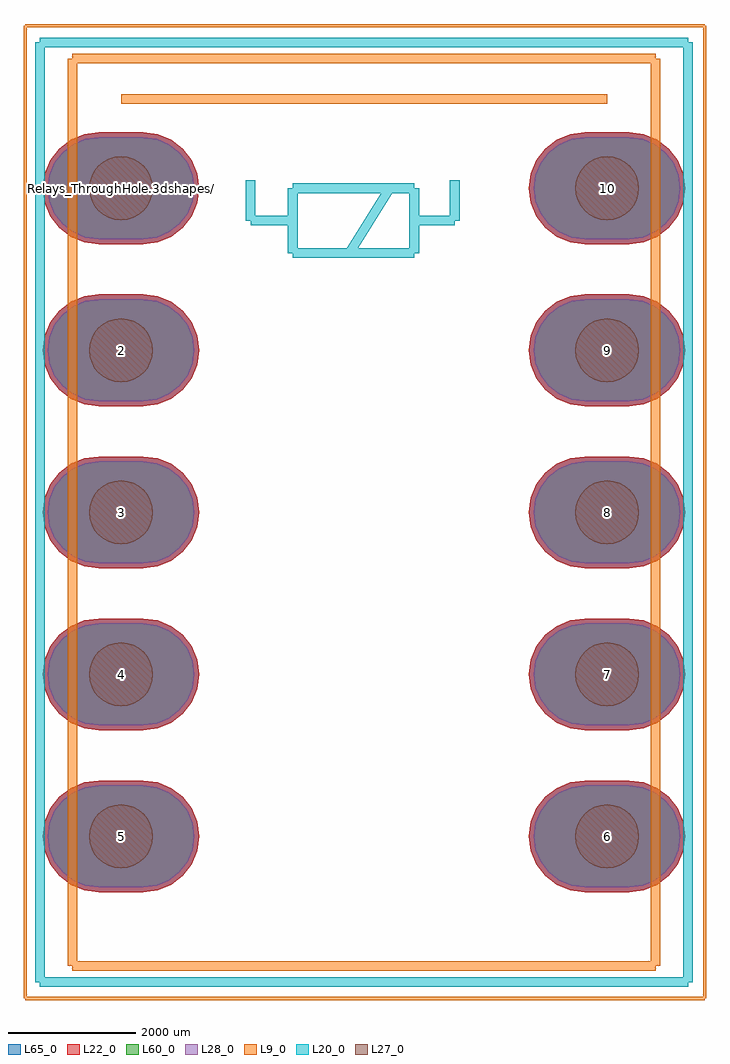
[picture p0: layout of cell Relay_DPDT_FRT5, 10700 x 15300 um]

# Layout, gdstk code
import gdstk
lib = gdstk.Library(unit=1e-6, precision=1e-09)
def P(c, l, *ps):  # polygons
    for p in ps: c.add(gdstk.Polygon(p, *l))
L9_0 = (9, 0)
L20_0 = (20, 0)
L22_0 = (22, 0)
L27_0 = (27, 0)
L28_0 = (28, 0)
L60_0 = (60, 0)
L65_0 = (65, 0)

relay_dpdt_frt5 = lib.new_cell('Relay_DPDT_FRT5')
P(relay_dpdt_frt5, L22_0, [(7270,-875),(7970,-875),(8196.467,-845.185),(8407.5,-757.772),(8588.718,-618.718),(8727.772,-437.5),(8815.185,-226.467),(8845,0),(8815.185,226.467),(8727.772,437.5),(8588.718,618.718),(8407.5,757.772),(8196.467,845.185),(7970,875),(7270,875),(7043.533,845.185),(6832.5,757.772),(6651.282,618.718),(6512.228,437.5),(6424.815,226.467),(6395,0),(6424.815,-226.467),(6512.228,-437.5),(6651.282,-618.718),(6832.5,-757.772),(7043.533,-845.185)],
  [(7270,-3415),(7970,-3415),(8196.467,-3385.185),(8407.5,-3297.772),(8588.718,-3158.718),(8727.772,-2977.5),(8815.185,-2766.467),(8845,-2540),(8815.185,-2313.533),(8727.772,-2102.5),(8588.718,-1921.282),(8407.5,-1782.228),(8196.467,-1694.815),(7970,-1665),(7270,-1665),(7043.533,-1694.815),(6832.5,-1782.228),(6651.282,-1921.282),(6512.228,-2102.5),(6424.815,-2313.533),(6395,-2540),(6424.815,-2766.467),(6512.228,-2977.5),(6651.282,-3158.718),(6832.5,-3297.772),(7043.533,-3385.185)],
  [(7270,-5955),(7970,-5955),(8196.467,-5925.185),(8407.5,-5837.772),(8588.718,-5698.718),(8727.772,-5517.5),(8815.185,-5306.467),(8845,-5080),(8815.185,-4853.533),(8727.772,-4642.5),(8588.718,-4461.282),(8407.5,-4322.228),(8196.467,-4234.815),(7970,-4205),(7270,-4205),(7043.533,-4234.815),(6832.5,-4322.228),(6651.282,-4461.282),(6512.228,-4642.5),(6424.815,-4853.533),(6395,-5080),(6424.815,-5306.467),(6512.228,-5517.5),(6651.282,-5698.718),(6832.5,-5837.772),(7043.533,-5925.185)],
  [(7270,-8495),(7970,-8495),(8196.467,-8465.185),(8407.5,-8377.772),(8588.718,-8238.718),(8727.772,-8057.5),(8815.185,-7846.467),(8845,-7620),(8815.185,-7393.533),(8727.772,-7182.5),(8588.718,-7001.282),(8407.5,-6862.228),(8196.467,-6774.815),(7970,-6745),(7270,-6745),(7043.533,-6774.815),(6832.5,-6862.228),(6651.282,-7001.282),(6512.228,-7182.5),(6424.815,-7393.533),(6395,-7620),(6424.815,-7846.467),(6512.228,-8057.5),(6651.282,-8238.718),(6832.5,-8377.772),(7043.533,-8465.185)],
  [(7270,-11035),(7970,-11035),(8196.467,-11005.185),(8407.5,-10917.772),(8588.718,-10778.718),(8727.772,-10597.5),(8815.185,-10386.467),(8845,-10160),(8815.185,-9933.533),(8727.772,-9722.5),(8588.718,-9541.282),(8407.5,-9402.228),(8196.467,-9314.815),(7970,-9285),(7270,-9285),(7043.533,-9314.815),(6832.5,-9402.228),(6651.282,-9541.282),(6512.228,-9722.5),(6424.815,-9933.533),(6395,-10160),(6424.815,-10386.467),(6512.228,-10597.5),(6651.282,-10778.718),(6832.5,-10917.772),(7043.533,-11005.185)],
  [(-350,-11035),(350,-11035),(576.467,-11005.185),(787.5,-10917.772),(968.718,-10778.718),(1107.772,-10597.5),(1195.185,-10386.467),(1225,-10160),(1195.185,-9933.533),(1107.772,-9722.5),(968.718,-9541.282),(787.5,-9402.228),(576.467,-9314.815),(350,-9285),(-350,-9285),(-576.467,-9314.815),(-787.5,-9402.228),(-968.718,-9541.282),(-1107.772,-9722.5),(-1195.185,-9933.533),(-1225,-10160),(-1195.185,-10386.467),(-1107.772,-10597.5),(-968.718,-10778.718),(-787.5,-10917.772),(-576.467,-11005.185)],
  [(-350,-8495),(350,-8495),(576.467,-8465.185),(787.5,-8377.772),(968.718,-8238.718),(1107.772,-8057.5),(1195.185,-7846.467),(1225,-7620),(1195.185,-7393.533),(1107.772,-7182.5),(968.718,-7001.282),(787.5,-6862.228),(576.467,-6774.815),(350,-6745),(-350,-6745),(-576.467,-6774.815),(-787.5,-6862.228),(-968.718,-7001.282),(-1107.772,-7182.5),(-1195.185,-7393.533),(-1225,-7620),(-1195.185,-7846.467),(-1107.772,-8057.5),(-968.718,-8238.718),(-787.5,-8377.772),(-576.467,-8465.185)],
  [(-350,-5955),(350,-5955),(576.467,-5925.185),(787.5,-5837.772),(968.718,-5698.718),(1107.772,-5517.5),(1195.185,-5306.467),(1225,-5080),(1195.185,-4853.533),(1107.772,-4642.5),(968.718,-4461.282),(787.5,-4322.228),(576.467,-4234.815),(350,-4205),(-350,-4205),(-576.467,-4234.815),(-787.5,-4322.228),(-968.718,-4461.282),(-1107.772,-4642.5),(-1195.185,-4853.533),(-1225,-5080),(-1195.185,-5306.467),(-1107.772,-5517.5),(-968.718,-5698.718),(-787.5,-5837.772),(-576.467,-5925.185)],
  [(-350,-3415),(350,-3415),(576.467,-3385.185),(787.5,-3297.772),(968.718,-3158.718),(1107.772,-2977.5),(1195.185,-2766.467),(1225,-2540),(1195.185,-2313.533),(1107.772,-2102.5),(968.718,-1921.282),(787.5,-1782.228),(576.467,-1694.815),(350,-1665),(-350,-1665),(-576.467,-1694.815),(-787.5,-1782.228),(-968.718,-1921.282),(-1107.772,-2102.5),(-1195.185,-2313.533),(-1225,-2540),(-1195.185,-2766.467),(-1107.772,-2977.5),(-968.718,-3158.718),(-787.5,-3297.772),(-576.467,-3385.185)],
  [(-350,-875),(350,-875),(576.467,-845.185),(787.5,-757.772),(968.718,-618.718),(1107.772,-437.5),(1195.185,-226.467),(1225,0),(1195.185,226.467),(1107.772,437.5),(968.718,618.718),(787.5,757.772),(576.467,845.185),(350,875),(-350,875),(-576.467,845.185),(-787.5,757.772),(-968.718,618.718),(-1107.772,437.5),(-1195.185,226.467),(-1225,0),(-1195.185,-226.467),(-1107.772,-437.5),(-968.718,-618.718),(-787.5,-757.772),(-576.467,-845.185)])
P(relay_dpdt_frt5, L27_0, [(8119.999,0),(8110.392,97.545),(8081.939,191.341),(8035.734,277.785),(7973.553,353.553),(7897.785,415.734),(7811.341,461.939),(7717.545,490.392),(7620,499.999),(7522.455,490.392),(7428.659,461.939),(7342.215,415.734),(7266.447,353.553),(7204.266,277.785),(7158.061,191.341),(7129.608,97.545),(7120.001,0),(7129.608,-97.545),(7158.061,-191.341),(7204.266,-277.785),(7266.447,-353.553),(7342.215,-415.734),(7428.659,-461.939),(7522.455,-490.392),(7620,-499.999),(7717.545,-490.392),(7811.341,-461.939),(7897.785,-415.734),(7973.553,-353.553),(8035.734,-277.785),(8081.939,-191.341),(8110.392,-97.545)],
  [(8119.999,-2540),(8110.392,-2442.455),(8081.939,-2348.659),(8035.734,-2262.215),(7973.553,-2186.447),(7897.785,-2124.266),(7811.341,-2078.061),(7717.545,-2049.608),(7620,-2040.001),(7522.455,-2049.608),(7428.659,-2078.061),(7342.215,-2124.266),(7266.447,-2186.447),(7204.266,-2262.215),(7158.061,-2348.659),(7129.608,-2442.455),(7120.001,-2540),(7129.608,-2637.545),(7158.061,-2731.341),(7204.266,-2817.785),(7266.447,-2893.553),(7342.215,-2955.734),(7428.659,-3001.939),(7522.455,-3030.392),(7620,-3039.999),(7717.545,-3030.392),(7811.341,-3001.939),(7897.785,-2955.734),(7973.553,-2893.553),(8035.734,-2817.785),(8081.939,-2731.341),(8110.392,-2637.545)],
  [(8119.999,-5080),(8110.392,-4982.455),(8081.939,-4888.659),(8035.734,-4802.215),(7973.553,-4726.447),(7897.785,-4664.266),(7811.341,-4618.061),(7717.545,-4589.608),(7620,-4580.001),(7522.455,-4589.608),(7428.659,-4618.061),(7342.215,-4664.266),(7266.447,-4726.447),(7204.266,-4802.215),(7158.061,-4888.659),(7129.608,-4982.455),(7120.001,-5080),(7129.608,-5177.545),(7158.061,-5271.341),(7204.266,-5357.785),(7266.447,-5433.553),(7342.215,-5495.734),(7428.659,-5541.939),(7522.455,-5570.392),(7620,-5579.999),(7717.545,-5570.392),(7811.341,-5541.939),(7897.785,-5495.734),(7973.553,-5433.553),(8035.734,-5357.785),(8081.939,-5271.341),(8110.392,-5177.545)],
  [(8119.999,-7620),(8110.392,-7522.455),(8081.939,-7428.659),(8035.734,-7342.215),(7973.553,-7266.447),(7897.785,-7204.266),(7811.341,-7158.061),(7717.545,-7129.608),(7620,-7120.001),(7522.455,-7129.608),(7428.659,-7158.061),(7342.215,-7204.266),(7266.447,-7266.447),(7204.266,-7342.215),(7158.061,-7428.659),(7129.608,-7522.455),(7120.001,-7620),(7129.608,-7717.545),(7158.061,-7811.341),(7204.266,-7897.785),(7266.447,-7973.553),(7342.215,-8035.734),(7428.659,-8081.939),(7522.455,-8110.392),(7620,-8119.999),(7717.545,-8110.392),(7811.341,-8081.939),(7897.785,-8035.734),(7973.553,-7973.553),(8035.734,-7897.785),(8081.939,-7811.341),(8110.392,-7717.545)],
  [(8119.999,-10160),(8110.392,-10062.455),(8081.939,-9968.659),(8035.734,-9882.215),(7973.553,-9806.447),(7897.785,-9744.266),(7811.341,-9698.061),(7717.545,-9669.608),(7620,-9660.001),(7522.455,-9669.608),(7428.659,-9698.061),(7342.215,-9744.266),(7266.447,-9806.447),(7204.266,-9882.215),(7158.061,-9968.659),(7129.608,-10062.455),(7120.001,-10160),(7129.608,-10257.545),(7158.061,-10351.341),(7204.266,-10437.785),(7266.447,-10513.553),(7342.215,-10575.734),(7428.659,-10621.939),(7522.455,-10650.392),(7620,-10659.999),(7717.545,-10650.392),(7811.341,-10621.939),(7897.785,-10575.734),(7973.553,-10513.553),(8035.734,-10437.785),(8081.939,-10351.341),(8110.392,-10257.545)],
  [(499.999,-10160),(490.392,-10062.455),(461.939,-9968.659),(415.734,-9882.215),(353.553,-9806.447),(277.785,-9744.266),(191.341,-9698.061),(97.545,-9669.608),(0,-9660.001),(-97.545,-9669.608),(-191.341,-9698.061),(-277.785,-9744.266),(-353.553,-9806.447),(-415.734,-9882.215),(-461.939,-9968.659),(-490.392,-10062.455),(-499.999,-10160),(-490.392,-10257.545),(-461.939,-10351.341),(-415.734,-10437.785),(-353.553,-10513.553),(-277.785,-10575.734),(-191.341,-10621.939),(-97.545,-10650.392),(0,-10659.999),(97.545,-10650.392),(191.341,-10621.939),(277.785,-10575.734),(353.553,-10513.553),(415.734,-10437.785),(461.939,-10351.341),(490.392,-10257.545)],
  [(499.999,-7620),(490.392,-7522.455),(461.939,-7428.659),(415.734,-7342.215),(353.553,-7266.447),(277.785,-7204.266),(191.341,-7158.061),(97.545,-7129.608),(0,-7120.001),(-97.545,-7129.608),(-191.341,-7158.061),(-277.785,-7204.266),(-353.553,-7266.447),(-415.734,-7342.215),(-461.939,-7428.659),(-490.392,-7522.455),(-499.999,-7620),(-490.392,-7717.545),(-461.939,-7811.341),(-415.734,-7897.785),(-353.553,-7973.553),(-277.785,-8035.734),(-191.341,-8081.939),(-97.545,-8110.392),(0,-8119.999),(97.545,-8110.392),(191.341,-8081.939),(277.785,-8035.734),(353.553,-7973.553),(415.734,-7897.785),(461.939,-7811.341),(490.392,-7717.545)],
  [(499.999,-5080),(490.392,-4982.455),(461.939,-4888.659),(415.734,-4802.215),(353.553,-4726.447),(277.785,-4664.266),(191.341,-4618.061),(97.545,-4589.608),(0,-4580.001),(-97.545,-4589.608),(-191.341,-4618.061),(-277.785,-4664.266),(-353.553,-4726.447),(-415.734,-4802.215),(-461.939,-4888.659),(-490.392,-4982.455),(-499.999,-5080),(-490.392,-5177.545),(-461.939,-5271.341),(-415.734,-5357.785),(-353.553,-5433.553),(-277.785,-5495.734),(-191.341,-5541.939),(-97.545,-5570.392),(0,-5579.999),(97.545,-5570.392),(191.341,-5541.939),(277.785,-5495.734),(353.553,-5433.553),(415.734,-5357.785),(461.939,-5271.341),(490.392,-5177.545)],
  [(499.999,-2540),(490.392,-2442.455),(461.939,-2348.659),(415.734,-2262.215),(353.553,-2186.447),(277.785,-2124.266),(191.341,-2078.061),(97.545,-2049.608),(0,-2040.001),(-97.545,-2049.608),(-191.341,-2078.061),(-277.785,-2124.266),(-353.553,-2186.447),(-415.734,-2262.215),(-461.939,-2348.659),(-490.392,-2442.455),(-499.999,-2540),(-490.392,-2637.545),(-461.939,-2731.341),(-415.734,-2817.785),(-353.553,-2893.553),(-277.785,-2955.734),(-191.341,-3001.939),(-97.545,-3030.392),(0,-3039.999),(97.545,-3030.392),(191.341,-3001.939),(277.785,-2955.734),(353.553,-2893.553),(415.734,-2817.785),(461.939,-2731.341),(490.392,-2637.545)],
  [(499.999,0),(490.392,97.545),(461.939,191.341),(415.734,277.785),(353.553,353.553),(277.785,415.734),(191.341,461.939),(97.545,490.392),(0,499.999),(-97.545,490.392),(-191.341,461.939),(-277.785,415.734),(-353.553,353.553),(-415.734,277.785),(-461.939,191.341),(-490.392,97.545),(-499.999,0),(-490.392,-97.545),(-461.939,-191.341),(-415.734,-277.785),(-353.553,-353.553),(-277.785,-415.734),(-191.341,-461.939),(-97.545,-490.392),(0,-499.999),(97.545,-490.392),(191.341,-461.939),(277.785,-415.734),(353.553,-353.553),(415.734,-277.785),(461.939,-191.341),(490.392,-97.545)])
P(relay_dpdt_frt5, L28_0, [(7270,-800),(7970,-800),(8177.055,-772.741),(8370,-692.82),(8535.685,-565.685),(8662.82,-400),(8742.741,-207.055),(8770,0),(8742.741,207.055),(8662.82,400),(8535.685,565.685),(8370,692.82),(8177.055,772.741),(7970,800),(7270,800),(7062.945,772.741),(6870,692.82),(6704.315,565.685),(6577.18,400),(6497.259,207.055),(6470,0),(6497.259,-207.055),(6577.18,-400),(6704.315,-565.685),(6870,-692.82),(7062.945,-772.741)],
  [(7270,-3340),(7970,-3340),(8177.055,-3312.741),(8370,-3232.82),(8535.685,-3105.685),(8662.82,-2940),(8742.741,-2747.055),(8770,-2540),(8742.741,-2332.945),(8662.82,-2140),(8535.685,-1974.315),(8370,-1847.18),(8177.055,-1767.259),(7970,-1740),(7270,-1740),(7062.945,-1767.259),(6870,-1847.18),(6704.315,-1974.315),(6577.18,-2140),(6497.259,-2332.945),(6470,-2540),(6497.259,-2747.055),(6577.18,-2940),(6704.315,-3105.685),(6870,-3232.82),(7062.945,-3312.741)],
  [(7270,-5880),(7970,-5880),(8177.055,-5852.741),(8370,-5772.82),(8535.685,-5645.685),(8662.82,-5480),(8742.741,-5287.055),(8770,-5080),(8742.741,-4872.945),(8662.82,-4680),(8535.685,-4514.315),(8370,-4387.18),(8177.055,-4307.259),(7970,-4280),(7270,-4280),(7062.945,-4307.259),(6870,-4387.18),(6704.315,-4514.315),(6577.18,-4680),(6497.259,-4872.945),(6470,-5080),(6497.259,-5287.055),(6577.18,-5480),(6704.315,-5645.685),(6870,-5772.82),(7062.945,-5852.741)],
  [(7270,-8420),(7970,-8420),(8177.055,-8392.741),(8370,-8312.82),(8535.685,-8185.685),(8662.82,-8020),(8742.741,-7827.055),(8770,-7620),(8742.741,-7412.945),(8662.82,-7220),(8535.685,-7054.315),(8370,-6927.18),(8177.055,-6847.259),(7970,-6820),(7270,-6820),(7062.945,-6847.259),(6870,-6927.18),(6704.315,-7054.315),(6577.18,-7220),(6497.259,-7412.945),(6470,-7620),(6497.259,-7827.055),(6577.18,-8020),(6704.315,-8185.685),(6870,-8312.82),(7062.945,-8392.741)],
  [(7270,-10960),(7970,-10960),(8177.055,-10932.741),(8370,-10852.82),(8535.685,-10725.685),(8662.82,-10560),(8742.741,-10367.055),(8770,-10160),(8742.741,-9952.945),(8662.82,-9760),(8535.685,-9594.315),(8370,-9467.18),(8177.055,-9387.259),(7970,-9360),(7270,-9360),(7062.945,-9387.259),(6870,-9467.18),(6704.315,-9594.315),(6577.18,-9760),(6497.259,-9952.945),(6470,-10160),(6497.259,-10367.055),(6577.18,-10560),(6704.315,-10725.685),(6870,-10852.82),(7062.945,-10932.741)],
  [(-350,-10960),(350,-10960),(557.055,-10932.741),(750,-10852.82),(915.685,-10725.685),(1042.82,-10560),(1122.741,-10367.055),(1150,-10160),(1122.741,-9952.945),(1042.82,-9760),(915.685,-9594.315),(750,-9467.18),(557.055,-9387.259),(350,-9360),(-350,-9360),(-557.055,-9387.259),(-750,-9467.18),(-915.685,-9594.315),(-1042.82,-9760),(-1122.741,-9952.945),(-1150,-10160),(-1122.741,-10367.055),(-1042.82,-10560),(-915.685,-10725.685),(-750,-10852.82),(-557.055,-10932.741)],
  [(-350,-8420),(350,-8420),(557.055,-8392.741),(750,-8312.82),(915.685,-8185.685),(1042.82,-8020),(1122.741,-7827.055),(1150,-7620),(1122.741,-7412.945),(1042.82,-7220),(915.685,-7054.315),(750,-6927.18),(557.055,-6847.259),(350,-6820),(-350,-6820),(-557.055,-6847.259),(-750,-6927.18),(-915.685,-7054.315),(-1042.82,-7220),(-1122.741,-7412.945),(-1150,-7620),(-1122.741,-7827.055),(-1042.82,-8020),(-915.685,-8185.685),(-750,-8312.82),(-557.055,-8392.741)],
  [(-350,-5880),(350,-5880),(557.055,-5852.741),(750,-5772.82),(915.685,-5645.685),(1042.82,-5480),(1122.741,-5287.055),(1150,-5080),(1122.741,-4872.945),(1042.82,-4680),(915.685,-4514.315),(750,-4387.18),(557.055,-4307.259),(350,-4280),(-350,-4280),(-557.055,-4307.259),(-750,-4387.18),(-915.685,-4514.315),(-1042.82,-4680),(-1122.741,-4872.945),(-1150,-5080),(-1122.741,-5287.055),(-1042.82,-5480),(-915.685,-5645.685),(-750,-5772.82),(-557.055,-5852.741)],
  [(-350,-3340),(350,-3340),(557.055,-3312.741),(750,-3232.82),(915.685,-3105.685),(1042.82,-2940),(1122.741,-2747.055),(1150,-2540),(1122.741,-2332.945),(1042.82,-2140),(915.685,-1974.315),(750,-1847.18),(557.055,-1767.259),(350,-1740),(-350,-1740),(-557.055,-1767.259),(-750,-1847.18),(-915.685,-1974.315),(-1042.82,-2140),(-1122.741,-2332.945),(-1150,-2540),(-1122.741,-2747.055),(-1042.82,-2940),(-915.685,-3105.685),(-750,-3232.82),(-557.055,-3312.741)],
  [(-350,-800),(350,-800),(557.055,-772.741),(750,-692.82),(915.685,-565.685),(1042.82,-400),(1122.741,-207.055),(1150,0),(1122.741,207.055),(1042.82,400),(915.685,565.685),(750,692.82),(557.055,772.741),(350,800),(-350,800),(-557.055,772.741),(-750,692.82),(-915.685,565.685),(-1042.82,400),(-1122.741,207.055),(-1150,0),(-1122.741,-207.055),(-1042.82,-400),(-915.685,-565.685),(-750,-692.82),(-557.055,-772.741)])
P(relay_dpdt_frt5, L60_0, [(7270,-800),(7970,-800),(8177.055,-772.741),(8370,-692.82),(8535.685,-565.685),(8662.82,-400),(8742.741,-207.055),(8770,0),(8742.741,207.055),(8662.82,400),(8535.685,565.685),(8370,692.82),(8177.055,772.741),(7970,800),(7270,800),(7062.945,772.741),(6870,692.82),(6704.315,565.685),(6577.18,400),(6497.259,207.055),(6470,0),(6497.259,-207.055),(6577.18,-400),(6704.315,-565.685),(6870,-692.82),(7062.945,-772.741)],
  [(7270,-3340),(7970,-3340),(8177.055,-3312.741),(8370,-3232.82),(8535.685,-3105.685),(8662.82,-2940),(8742.741,-2747.055),(8770,-2540),(8742.741,-2332.945),(8662.82,-2140),(8535.685,-1974.315),(8370,-1847.18),(8177.055,-1767.259),(7970,-1740),(7270,-1740),(7062.945,-1767.259),(6870,-1847.18),(6704.315,-1974.315),(6577.18,-2140),(6497.259,-2332.945),(6470,-2540),(6497.259,-2747.055),(6577.18,-2940),(6704.315,-3105.685),(6870,-3232.82),(7062.945,-3312.741)],
  [(7270,-5880),(7970,-5880),(8177.055,-5852.741),(8370,-5772.82),(8535.685,-5645.685),(8662.82,-5480),(8742.741,-5287.055),(8770,-5080),(8742.741,-4872.945),(8662.82,-4680),(8535.685,-4514.315),(8370,-4387.18),(8177.055,-4307.259),(7970,-4280),(7270,-4280),(7062.945,-4307.259),(6870,-4387.18),(6704.315,-4514.315),(6577.18,-4680),(6497.259,-4872.945),(6470,-5080),(6497.259,-5287.055),(6577.18,-5480),(6704.315,-5645.685),(6870,-5772.82),(7062.945,-5852.741)],
  [(7270,-8420),(7970,-8420),(8177.055,-8392.741),(8370,-8312.82),(8535.685,-8185.685),(8662.82,-8020),(8742.741,-7827.055),(8770,-7620),(8742.741,-7412.945),(8662.82,-7220),(8535.685,-7054.315),(8370,-6927.18),(8177.055,-6847.259),(7970,-6820),(7270,-6820),(7062.945,-6847.259),(6870,-6927.18),(6704.315,-7054.315),(6577.18,-7220),(6497.259,-7412.945),(6470,-7620),(6497.259,-7827.055),(6577.18,-8020),(6704.315,-8185.685),(6870,-8312.82),(7062.945,-8392.741)],
  [(7270,-10960),(7970,-10960),(8177.055,-10932.741),(8370,-10852.82),(8535.685,-10725.685),(8662.82,-10560),(8742.741,-10367.055),(8770,-10160),(8742.741,-9952.945),(8662.82,-9760),(8535.685,-9594.315),(8370,-9467.18),(8177.055,-9387.259),(7970,-9360),(7270,-9360),(7062.945,-9387.259),(6870,-9467.18),(6704.315,-9594.315),(6577.18,-9760),(6497.259,-9952.945),(6470,-10160),(6497.259,-10367.055),(6577.18,-10560),(6704.315,-10725.685),(6870,-10852.82),(7062.945,-10932.741)],
  [(-350,-10960),(350,-10960),(557.055,-10932.741),(750,-10852.82),(915.685,-10725.685),(1042.82,-10560),(1122.741,-10367.055),(1150,-10160),(1122.741,-9952.945),(1042.82,-9760),(915.685,-9594.315),(750,-9467.18),(557.055,-9387.259),(350,-9360),(-350,-9360),(-557.055,-9387.259),(-750,-9467.18),(-915.685,-9594.315),(-1042.82,-9760),(-1122.741,-9952.945),(-1150,-10160),(-1122.741,-10367.055),(-1042.82,-10560),(-915.685,-10725.685),(-750,-10852.82),(-557.055,-10932.741)],
  [(-350,-8420),(350,-8420),(557.055,-8392.741),(750,-8312.82),(915.685,-8185.685),(1042.82,-8020),(1122.741,-7827.055),(1150,-7620),(1122.741,-7412.945),(1042.82,-7220),(915.685,-7054.315),(750,-6927.18),(557.055,-6847.259),(350,-6820),(-350,-6820),(-557.055,-6847.259),(-750,-6927.18),(-915.685,-7054.315),(-1042.82,-7220),(-1122.741,-7412.945),(-1150,-7620),(-1122.741,-7827.055),(-1042.82,-8020),(-915.685,-8185.685),(-750,-8312.82),(-557.055,-8392.741)],
  [(-350,-5880),(350,-5880),(557.055,-5852.741),(750,-5772.82),(915.685,-5645.685),(1042.82,-5480),(1122.741,-5287.055),(1150,-5080),(1122.741,-4872.945),(1042.82,-4680),(915.685,-4514.315),(750,-4387.18),(557.055,-4307.259),(350,-4280),(-350,-4280),(-557.055,-4307.259),(-750,-4387.18),(-915.685,-4514.315),(-1042.82,-4680),(-1122.741,-4872.945),(-1150,-5080),(-1122.741,-5287.055),(-1042.82,-5480),(-915.685,-5645.685),(-750,-5772.82),(-557.055,-5852.741)],
  [(-350,-3340),(350,-3340),(557.055,-3312.741),(750,-3232.82),(915.685,-3105.685),(1042.82,-2940),(1122.741,-2747.055),(1150,-2540),(1122.741,-2332.945),(1042.82,-2140),(915.685,-1974.315),(750,-1847.18),(557.055,-1767.259),(350,-1740),(-350,-1740),(-557.055,-1767.259),(-750,-1847.18),(-915.685,-1974.315),(-1042.82,-2140),(-1122.741,-2332.945),(-1150,-2540),(-1122.741,-2747.055),(-1042.82,-2940),(-915.685,-3105.685),(-750,-3232.82),(-557.055,-3312.741)],
  [(-350,-800),(350,-800),(557.055,-772.741),(750,-692.82),(915.685,-565.685),(1042.82,-400),(1122.741,-207.055),(1150,0),(1122.741,207.055),(1042.82,400),(915.685,565.685),(750,692.82),(557.055,772.741),(350,800),(-350,800),(-557.055,772.741),(-750,692.82),(-915.685,565.685),(-1042.82,400),(-1122.741,207.055),(-1150,0),(-1122.741,-207.055),(-1042.82,-400),(-915.685,-565.685),(-750,-692.82),(-557.055,-772.741)])
P(relay_dpdt_frt5, L65_0, [(7270,-875),(7970,-875),(8196.467,-845.185),(8407.5,-757.772),(8588.718,-618.718),(8727.772,-437.5),(8815.185,-226.467),(8845,0),(8815.185,226.467),(8727.772,437.5),(8588.718,618.718),(8407.5,757.772),(8196.467,845.185),(7970,875),(7270,875),(7043.533,845.185),(6832.5,757.772),(6651.282,618.718),(6512.228,437.5),(6424.815,226.467),(6395,0),(6424.815,-226.467),(6512.228,-437.5),(6651.282,-618.718),(6832.5,-757.772),(7043.533,-845.185)],
  [(7270,-3415),(7970,-3415),(8196.467,-3385.185),(8407.5,-3297.772),(8588.718,-3158.718),(8727.772,-2977.5),(8815.185,-2766.467),(8845,-2540),(8815.185,-2313.533),(8727.772,-2102.5),(8588.718,-1921.282),(8407.5,-1782.228),(8196.467,-1694.815),(7970,-1665),(7270,-1665),(7043.533,-1694.815),(6832.5,-1782.228),(6651.282,-1921.282),(6512.228,-2102.5),(6424.815,-2313.533),(6395,-2540),(6424.815,-2766.467),(6512.228,-2977.5),(6651.282,-3158.718),(6832.5,-3297.772),(7043.533,-3385.185)],
  [(7270,-5955),(7970,-5955),(8196.467,-5925.185),(8407.5,-5837.772),(8588.718,-5698.718),(8727.772,-5517.5),(8815.185,-5306.467),(8845,-5080),(8815.185,-4853.533),(8727.772,-4642.5),(8588.718,-4461.282),(8407.5,-4322.228),(8196.467,-4234.815),(7970,-4205),(7270,-4205),(7043.533,-4234.815),(6832.5,-4322.228),(6651.282,-4461.282),(6512.228,-4642.5),(6424.815,-4853.533),(6395,-5080),(6424.815,-5306.467),(6512.228,-5517.5),(6651.282,-5698.718),(6832.5,-5837.772),(7043.533,-5925.185)],
  [(7270,-8495),(7970,-8495),(8196.467,-8465.185),(8407.5,-8377.772),(8588.718,-8238.718),(8727.772,-8057.5),(8815.185,-7846.467),(8845,-7620),(8815.185,-7393.533),(8727.772,-7182.5),(8588.718,-7001.282),(8407.5,-6862.228),(8196.467,-6774.815),(7970,-6745),(7270,-6745),(7043.533,-6774.815),(6832.5,-6862.228),(6651.282,-7001.282),(6512.228,-7182.5),(6424.815,-7393.533),(6395,-7620),(6424.815,-7846.467),(6512.228,-8057.5),(6651.282,-8238.718),(6832.5,-8377.772),(7043.533,-8465.185)],
  [(7270,-11035),(7970,-11035),(8196.467,-11005.185),(8407.5,-10917.772),(8588.718,-10778.718),(8727.772,-10597.5),(8815.185,-10386.467),(8845,-10160),(8815.185,-9933.533),(8727.772,-9722.5),(8588.718,-9541.282),(8407.5,-9402.228),(8196.467,-9314.815),(7970,-9285),(7270,-9285),(7043.533,-9314.815),(6832.5,-9402.228),(6651.282,-9541.282),(6512.228,-9722.5),(6424.815,-9933.533),(6395,-10160),(6424.815,-10386.467),(6512.228,-10597.5),(6651.282,-10778.718),(6832.5,-10917.772),(7043.533,-11005.185)],
  [(-350,-11035),(350,-11035),(576.467,-11005.185),(787.5,-10917.772),(968.718,-10778.718),(1107.772,-10597.5),(1195.185,-10386.467),(1225,-10160),(1195.185,-9933.533),(1107.772,-9722.5),(968.718,-9541.282),(787.5,-9402.228),(576.467,-9314.815),(350,-9285),(-350,-9285),(-576.467,-9314.815),(-787.5,-9402.228),(-968.718,-9541.282),(-1107.772,-9722.5),(-1195.185,-9933.533),(-1225,-10160),(-1195.185,-10386.467),(-1107.772,-10597.5),(-968.718,-10778.718),(-787.5,-10917.772),(-576.467,-11005.185)],
  [(-350,-8495),(350,-8495),(576.467,-8465.185),(787.5,-8377.772),(968.718,-8238.718),(1107.772,-8057.5),(1195.185,-7846.467),(1225,-7620),(1195.185,-7393.533),(1107.772,-7182.5),(968.718,-7001.282),(787.5,-6862.228),(576.467,-6774.815),(350,-6745),(-350,-6745),(-576.467,-6774.815),(-787.5,-6862.228),(-968.718,-7001.282),(-1107.772,-7182.5),(-1195.185,-7393.533),(-1225,-7620),(-1195.185,-7846.467),(-1107.772,-8057.5),(-968.718,-8238.718),(-787.5,-8377.772),(-576.467,-8465.185)],
  [(-350,-5955),(350,-5955),(576.467,-5925.185),(787.5,-5837.772),(968.718,-5698.718),(1107.772,-5517.5),(1195.185,-5306.467),(1225,-5080),(1195.185,-4853.533),(1107.772,-4642.5),(968.718,-4461.282),(787.5,-4322.228),(576.467,-4234.815),(350,-4205),(-350,-4205),(-576.467,-4234.815),(-787.5,-4322.228),(-968.718,-4461.282),(-1107.772,-4642.5),(-1195.185,-4853.533),(-1225,-5080),(-1195.185,-5306.467),(-1107.772,-5517.5),(-968.718,-5698.718),(-787.5,-5837.772),(-576.467,-5925.185)],
  [(-350,-3415),(350,-3415),(576.467,-3385.185),(787.5,-3297.772),(968.718,-3158.718),(1107.772,-2977.5),(1195.185,-2766.467),(1225,-2540),(1195.185,-2313.533),(1107.772,-2102.5),(968.718,-1921.282),(787.5,-1782.228),(576.467,-1694.815),(350,-1665),(-350,-1665),(-576.467,-1694.815),(-787.5,-1782.228),(-968.718,-1921.282),(-1107.772,-2102.5),(-1195.185,-2313.533),(-1225,-2540),(-1195.185,-2766.467),(-1107.772,-2977.5),(-968.718,-3158.718),(-787.5,-3297.772),(-576.467,-3385.185)],
  [(-350,-875),(350,-875),(576.467,-845.185),(787.5,-757.772),(968.718,-618.718),(1107.772,-437.5),(1195.185,-226.467),(1225,0),(1195.185,226.467),(1107.772,437.5),(968.718,618.718),(787.5,757.772),(576.467,845.185),(350,875),(-350,875),(-576.467,845.185),(-787.5,757.772),(-968.718,618.718),(-1107.772,437.5),(-1195.185,226.467),(-1225,0),(-1195.185,-226.467),(-1107.772,-437.5),(-968.718,-618.718),(-787.5,-757.772),(-576.467,-845.185)])
relay_dpdt_frt5.add(gdstk.FlexPath([(4597,0),(4597,-1016)], 149.998, ends="flush", simple_path=True, layer=20, datatype=0))  # L20_0
relay_dpdt_frt5.add(gdstk.FlexPath([(2692,-1016),(4597,-1016)], 149.998, ends="flush", simple_path=True, layer=20, datatype=0))  # L20_0
relay_dpdt_frt5.add(gdstk.FlexPath([(2692,0),(2692,-1016)], 149.998, ends="flush", simple_path=True, layer=20, datatype=0))  # L20_0
relay_dpdt_frt5.add(gdstk.FlexPath([(4597,0),(2692,0)], 149.998, ends="flush", simple_path=True, layer=20, datatype=0))  # L20_0
relay_dpdt_frt5.add(gdstk.FlexPath([(5232,-508),(4597,-508)], 149.998, ends="flush", simple_path=True, layer=20, datatype=0))  # L20_0
relay_dpdt_frt5.add(gdstk.FlexPath([(5232,127),(5232,-508)], 149.998, ends="flush", simple_path=True, layer=20, datatype=0))  # L20_0
relay_dpdt_frt5.add(gdstk.FlexPath([(2032,-508),(2692,-508)], 149.998, ends="flush", simple_path=True, layer=20, datatype=0))  # L20_0
relay_dpdt_frt5.add(gdstk.FlexPath([(2032,127),(2032,-508)], 149.998, ends="flush", simple_path=True, layer=20, datatype=0))  # L20_0
relay_dpdt_frt5.add(gdstk.FlexPath([(4216,0),(3581,-1016)], 149.998, ends="flush", simple_path=True, layer=20, datatype=0))  # L20_0
relay_dpdt_frt5.add(gdstk.FlexPath([(-762,-12192),(-762,2032)], 149.998, ends="flush", simple_path=True, layer=9, datatype=0))  # L9_0
relay_dpdt_frt5.add(gdstk.FlexPath([(8382,-12192),(-762,-12192)], 149.998, ends="flush", simple_path=True, layer=9, datatype=0))  # L9_0
relay_dpdt_frt5.add(gdstk.FlexPath([(8382,2032),(8382,-12192)], 149.998, ends="flush", simple_path=True, layer=9, datatype=0))  # L9_0
relay_dpdt_frt5.add(gdstk.FlexPath([(-762,2032),(8382,2032)], 149.998, ends="flush", simple_path=True, layer=9, datatype=0))  # L9_0
relay_dpdt_frt5.add(gdstk.FlexPath([(0,1397),(7620,1397)], 149.998, ends="flush", simple_path=True, layer=9, datatype=0))  # L9_0
relay_dpdt_frt5.add(gdstk.FlexPath([(8890,-12446),(-1270,-12446)], 149.998, ends="flush", simple_path=True, layer=20, datatype=0))  # L20_0
relay_dpdt_frt5.add(gdstk.FlexPath([(8890,2286),(8890,-12446)], 149.998, ends="flush", simple_path=True, layer=20, datatype=0))  # L20_0
relay_dpdt_frt5.add(gdstk.FlexPath([(-1270,2286),(8890,2286)], 149.998, ends="flush", simple_path=True, layer=20, datatype=0))  # L20_0
relay_dpdt_frt5.add(gdstk.FlexPath([(-1270,-12446),(-1270,2286)], 149.998, ends="flush", simple_path=True, layer=20, datatype=0))  # L20_0
relay_dpdt_frt5.add(gdstk.FlexPath([(-1500,-12700),(-1500,2550)], 50, ends="flush", simple_path=True, layer=9, datatype=0))  # L9_0
relay_dpdt_frt5.add(gdstk.FlexPath([(9150,-12700),(-1500,-12700)], 50, ends="flush", simple_path=True, layer=9, datatype=0))  # L9_0
relay_dpdt_frt5.add(gdstk.FlexPath([(9150,2550),(9150,-12700)], 50, ends="flush", simple_path=True, layer=9, datatype=0))  # L9_0
relay_dpdt_frt5.add(gdstk.FlexPath([(-1500,2550),(9150,2550)], 50, ends="flush", simple_path=True, layer=9, datatype=0))  # L9_0
relay_dpdt_frt5.add(gdstk.Label('Relays_ThroughHole.3dshapes/Relay_DPDT_FRT5.wrl', (0,0), layer=12, texttype=0))
relay_dpdt_frt5.add(gdstk.Label('10', (7620,0), layer=28, texttype=0))
relay_dpdt_frt5.add(gdstk.Label('9', (7620,-2540), layer=28, texttype=0))
relay_dpdt_frt5.add(gdstk.Label('8', (7620,-5080), layer=28, texttype=0))
relay_dpdt_frt5.add(gdstk.Label('7', (7620,-7620), layer=28, texttype=0))
relay_dpdt_frt5.add(gdstk.Label('6', (7620,-10160), layer=28, texttype=0))
relay_dpdt_frt5.add(gdstk.Label('5', (0,-10160), layer=28, texttype=0))
relay_dpdt_frt5.add(gdstk.Label('4', (0,-7620), layer=28, texttype=0))
relay_dpdt_frt5.add(gdstk.Label('3', (0,-5080), layer=28, texttype=0))
relay_dpdt_frt5.add(gdstk.Label('2', (0,-2540), layer=28, texttype=0))
relay_dpdt_frt5.add(gdstk.Label('1', (0,0), layer=28, texttype=0))
relay_dpdt_frt5.add(gdstk.Label('type', (4064,-13462), layer=9, texttype=0))
relay_dpdt_frt5.add(gdstk.Label('devicename', (635,3175), layer=9, texttype=0))

lib.write_gds('Relay_DPDT_FRT5.gds')
